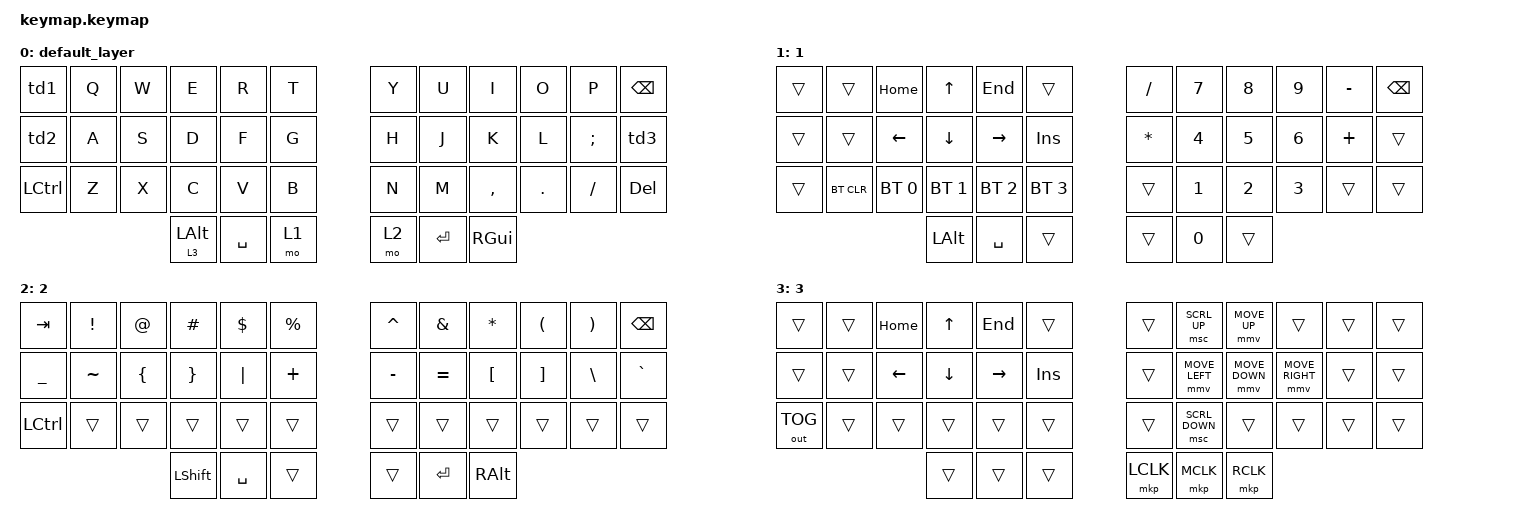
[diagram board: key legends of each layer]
/*
 * Copyright (c) 2020 The ZMK Contributors
 *
 * SPDX-License-Identifier: MIT
 */

#include <dt-bindings/zmk/ext_power.h>
#include <dt-bindings/zmk/mouse.h>
#include <dt-bindings/zmk/outputs.h>
#include <behaviors.dtsi>
#include <dt-bindings/zmk/keys.h>
#include <dt-bindings/zmk/bt.h>
#include <behaviors/mouse_keys.dtsi>

#undef ZMK_MOUSE_DEFAULT_MOVE_VAL
#define ZMK_MOUSE_DEFAULT_MOVE_VAL 1900



/ {
        behaviors {
                td0: BSPC_DEL{
                compatible = "zmk,behavior-tap-dance";
                #binding-cells = <0>;
                tapping-term-ms = <175>;
                bindings = <&kp BSPC>, <&kp DEL>;
                };

                td1: TAB_ESC{
                compatible = "zmk,behavior-tap-dance";
                #binding-cells = <0>;
                tapping-term-ms = <200>;
                bindings = <&kp TAB>, <&kp ESC>;
                };

                td2: CAPS_SHIFT {
                compatible = "zmk,behavior-tap-dance";
                #binding-cells = <0>;
                tapping-term-ms = <200>;
                bindings = <&kp LSHFT>, <&kp CAPS>;
                };

                td3: QUOTE_SHIFT {
                compatible = "zmk,behavior-tap-dance";
                #binding-cells = <0>;
                tapping-term-ms = <200>;
                bindings = <&kp RSHFT>, <&kp SQT>;
                };

               
        };

        //combos {
          //      compatible = "zmk,combos";
            //    combo_esc {
        //                timeout-ms = <50>;
        //             key-positions = <1 2>;
        //                bindings = <&kp ESC>;
        //        };
        //};



        keymap {
                compatible = "zmk,keymap";
                default_layer {
// -----------------------------------------------------------------------------------------
// |  TAB/ESC |  Q  |  W  |  E  |  R  |  T  |   |  Y  |  U   |  I  |  O  |  P  | BKSP |
// | CAPS/SHIFT |  A  |  S  |  D  |  F  |  G  |   |  H  |  J   |  K  |  L  |  ;  |  '/SHIFT   |
// | CTRL |  Z  |  X  |  C  |  V  |  B  |   |  N  |  M   |  ,  |  .  |  /  | DEL  |
//                    | ALT | SPC | LWR |   | RSE | ENT  |   WIN |
                        bindings = <
   &td1   &kp Q &kp W &kp E &kp R &kp T   &kp Y &kp U  &kp I     &kp O   &kp P    &kp BSPC
   &td2  &kp A &kp S &kp D &kp F &kp G   &kp H &kp J  &kp K     &kp L   &kp SEMI &td3 
   &kp LCTRL &kp Z &kp X &kp C &kp V &kp B   &kp N &kp M  &kp COMMA &kp DOT &kp FSLH &kp DEL
                  &lt 3 LALT &kp SPACE &mo 1  &mo 2 &kp RET  &kp RGUI
                        >;
                };
                1 {
// -----------------------------------------------------------------------------------------
// |  |  |    |    |   |     |         |  | / |   7  |  8  |  9  | -  |           |   |
// |  |  |    |    |   |               |  | * |   4  |  5  |  6  | +  |   |      |    |
// |  | BTCLR| BT1 | BT2 | BT3 | BT4|  |  |   |   1  |  2  |  3  |   |      |    |  |
//                    | LALT | SPC |    |  |         |  0  | ENT |
                        bindings = <
   &trans &trans &kp HOME &kp UP &kp END &trans                             &kp FSLH &kp N7 &kp N8 &kp N9 &kp MINUS &kp BSPC
   &trans &trans &kp LEFT &kp DOWN &kp RIGHT &kp INS                        &kp ASTRK &kp N4 &kp N5 &kp N6 &kp PLUS &trans 
   &trans &bt BT_CLR &bt BT_SEL 0 &bt BT_SEL 1 &bt BT_SEL 2 &bt BT_SEL 3 &trans &kp N1 &kp N2 &kp N3 &trans &trans
                                    &kp LALT &kp SPACE  &trans           &trans  &kp N0 &trans  
                        >;
                };
                2 {
// -----------------------------------------------------------------------------------------
// |  TAB |  !  |  @  |  #  |  $  |  %  |   |  ^  |  &  |  *  |  (  |  )  | BKSP |
// |  _  |  +  |  {  |  }  | "|" |  ~   |   |  -  |  =  |  [  |  ]  |  \  |  `   |
// | CTRL |     |     |     |     |     |   |     |     |     |     |     |      |
//                    | SHIFT| SPC|     |    |  ENT | ALT |
                        bindings = <
   &kp  TAB  &kp EXCL &kp AT &kp HASH &kp DLLR &kp PRCNT   &kp CARET &kp AMPS  &kp ASTRK &kp LPAR &kp RPAR &kp BSPC
   &kp UNDER &kp TILDE  &kp LBRC  &kp RBRC &kp PIPE &kp PLUS       &kp MINUS &kp EQUAL &kp LBKT  &kp RBKT &kp BSLH &kp GRAVE
   &kp LCTRL &trans   &trans &trans   &trans   &trans       &trans &trans &trans &trans &trans &trans
                             &kp LSHFT &kp SPACE &trans         &trans  &kp RET  &kp RALT
                        >;
                };
                3 {
// -----------------------------------------------------------------------------------------
// |  |  | HOME |  UP | END  |   |   |   KC_MS_WH_UP  |  KC_MS_UP   |    |       |             |   |
// |  |  | LEFT |  DOWN | RIGHT  | INS  |   |    KC_MS_LEFT |   KC_MS_DOWN  |  KC_MS_RIGHT  |    |   |  |   |
// |  |  |  |   |   |   |   |   KC_MS_WH_DOWN   |    | INS |      |    |  |
//                    |   |  |    |  |   |  |    |
                        bindings = <
   &trans &trans &kp HOME &kp UP &kp END &trans &trans &msc SCRL_UP &mmv MOVE_UP &trans &trans &trans
   &trans &trans &kp LEFT &kp DOWN &kp RIGHT &kp INS &trans &mmv MOVE_LEFT &mmv MOVE_DOWN &mmv MOVE_RIGHT &trans &trans
   &out OUT_TOG &trans &trans &trans &trans &trans &trans &msc SCRL_DOWN &trans &trans &trans &trans
                                    &trans &trans  &trans           &mkp LCLK  &mkp MCLK &mkp RCLK
                        >;
                };
                
                
        };
};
